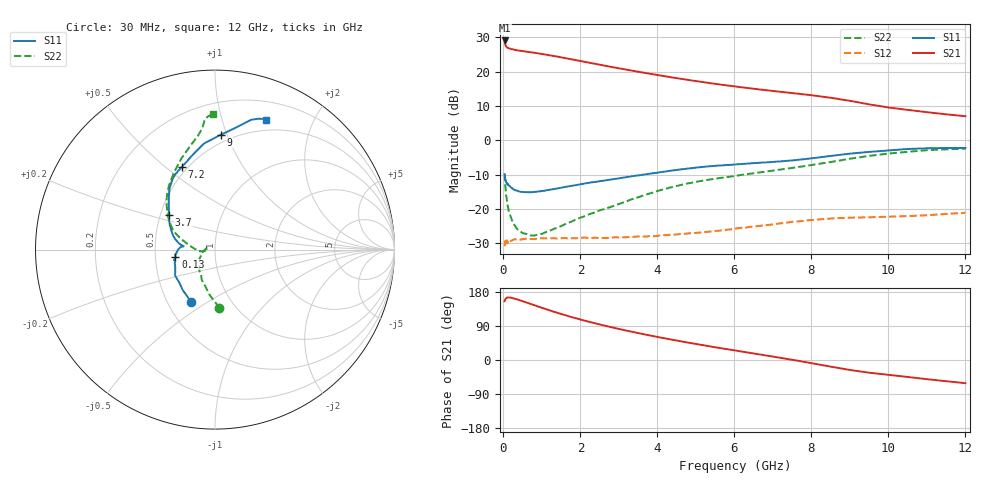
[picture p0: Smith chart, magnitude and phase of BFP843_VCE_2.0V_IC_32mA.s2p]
! Infineon Technologies  Discrete & RF Semiconductors
! BFP843
! VCE =  2.0 V,  IC =  32 mA
! Common Emitter S-Parameters:  Aug 2013
# GHz  S  MA  R  50
!  f  S11  S21  S12  S22
! GHz  MAG  ANG  MAG  ANG  MAG  ANG  MAG  ANG
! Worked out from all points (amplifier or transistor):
!   103 points, 30 MHz to 12 GHz, reference 50 ohm
!   highest |S21| = 29.1 dB at 30 MHz (marker M1)
!   |S21| within 3 dB of that: start of sweep to 436.4 MHz
!   unconditionally stable (mu >= 1): 93.33 MHz to 10.58 GHz
!   at 400 MHz: K = 1.04, MAG = 26.4 dB, |S12| = -29.0 dB
!   at 3.7 GHz: K = 1.37, MAG = 20.2 dB, |S12| = -28.0 dB
!   at 12 GHz: K = 0.85, MSG = 14.1 dB, |S12| = -21.1 dB
!   S11 on the Smith chart (normalised r, x): 30 MHz: 0.66, -0.43; 130 MHz: 0.64, -0.05; 3.7 GHz: 0.55, +0.24; 7.2 GHz: 0.47, +0.57; 9 GHz: 0.44, +0.95; 12 GHz: 0.38, +1.40
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0.03  0.3215 -114.2  28.48 155.0  0.0289 22.3  0.3255 -85.6
0.04  0.2875 -129.0  26 157.4  0.031 22.5  0.2529 -97.1
0.05  0.2713 -137.0  24.73 160.6  0.0346 21.0  0.2111 -104.9
0.07  0.2472 -153.5  23.2 163.1  0.034 12.8  0.1554 -120.6
0.1  0.2309 -164.0  22.45 164.8  0.0316 11.3  0.1197 -135.9
0.13  0.2236 -170.1  22.09 165.3  0.0349 11.3  0.0996 -150.3
0.3  0.1881 175.7  20.76 161.6  0.0366 6.8  0.0572 -178.9
0.9  0.1805 173.2  18.48 141.1  0.0372 4.2  0.0428 177.0
1.2  0.1914 172.3  17.33 131.0  0.0376 3.8  0.0483 -175.8
1.6  0.2105 168.9  15.8 118.4  0.0381 4.6  0.0603 -171.8
2.1  0.2355 163.8  13.94 104.1  0.0386 4.8  0.0786 -173.2
2.8  0.2705 155.1  11.74 86.6  0.0383 8.0  0.1082 179.0
3.2  0.2923 150.0  10.69 77.5  0.039 8.7  0.1301 173.5
3.7  0.3214 143.1  9.559 66.9  0.0398 10.1  0.1621 167.5
4.1  0.3466 138.1  8.76 58.9  0.0416 11.0  0.1902 163.1
5  0.402 129.6  7.306 42.3  0.0451 13.5  0.2491 156.0
6.1  0.4497 122.5  6.013 23.8  0.0528 14.2  0.3095 146.4
7.2  0.4949 112.0  5.095 5.7  0.0622 11.5  0.3769 135.7
8.5  0.5943 95.9  4.174 -17.5  0.073 2.8  0.4847 118.3
9  0.6416 87.0  3.772 -26.3  0.0751 -1.3  0.541 110.3
10.5  0.7504 74.5  2.783 -44.8  0.0791 -8.9  0.682 95.9
12  0.7768 68.5  2.251 -61.2  0.0885 -15.8  0.7566 90.7
